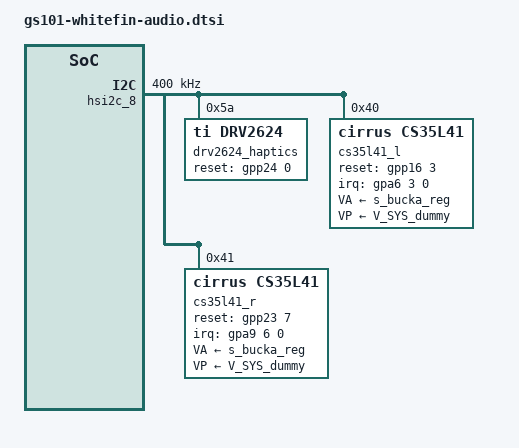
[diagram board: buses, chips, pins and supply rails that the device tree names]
// SPDX-License-Identifier: GPL-2.0-only
/*
 * Google GS101 Whitefin-specific audio device tree source
 *
 * Copyright (c) 2020 Google, LLC
 *		https://www.google.com
 *
*/

#include <dt-bindings/pinctrl/samsung.h>
#include <dt-bindings/gpio/gpio.h>
#include <dt-bindings/sound/google-aoc.h>
#include <dt-bindings/regulator/samsung,s2mpg-regulator.h>

&dai_be_tdm0_rx {
	codec {
		sound-dai = <&cs35l41_l 0>,
			<&cs35l41_r 0>;
	};
};

&dai_be_tdm0_tx {
	codec {
		sound-dai = <&cs35l41_l 0>,
			<&cs35l41_r 0>;
	};
};

&aoc_snd_card {
	clks {
		sys {
			sys@cs35l41_l {
				comp = <&cs35l41_l>;
				src = "BCLK";
				/* clk id */
				id = <0>;
				/* clk source */
				srcid = <0>;
				/* in clk multiple */
				in_mul = <1>;
				/* out clk multiple */
				out_mul = <1>;
			};

			sys@cs35l41_r {
				comp = <&cs35l41_r>;
				src = "BCLK";
				/* clk id */
				id = <0>;
				/* clk source */
				srcid = <0>;
				/* in clk multiple */
				in_mul = <1>;
				/* out clk multiple */
				out_mul = <1>;
			};
		};
	};
};

/* GPIO_ALIVE */
&pinctrl_0 {
	cs35l41_r_irq: cs35l41-r-irq {
		samsung,pins = "gpa9-6"; /* XEINT_26 */
		samsung,pin-function = <EXYNOS_PIN_FUNC_EINT>;
		samsung,pin-pud = <EXYNOS_PIN_PULL_NONE>;
	};
};

/* GPIO_FAR_ALIVE */
&pinctrl_1 {
	cs35l41_l_irq: cs35l41-l-irq {
		samsung,pins = "gpa6-3"; /* XEINT_3 */
		samsung,pin-function = <EXYNOS_PIN_FUNC_EINT>;
		samsung,pin-pud = <EXYNOS_PIN_PULL_NONE>;
	};
};

/* GPIO_PERIC0 */
&pinctrl_4 {
	cs35l41_l_rst: cs35l41-l-rst {
		samsung,pins = "gpp16-3"; /* XAPC_USI8_CTSN_CSN */
		samsung,pin-function = <EXYNOS_PIN_FUNC_OUTPUT>;
		samsung,pin-pud = <EXYNOS_PIN_PULL_NONE>;
		samsung,pin-con-pdn = <EXYNOS_PIN_PDN_PREV>;
		samsung,pin-pud-pdn = <EXYNOS_PIN_PULL_NONE>;
	};
};

/* GPIO_PERIC1 */
&pinctrl_5 {
	cs35l41_r_rst: cs35l41-r-rst {
		samsung,pins = "gpp23-7"; /* XAPC_USI12_CTSN_CSN */
		samsung,pin-function = <EXYNOS_PIN_FUNC_OUTPUT>;
		samsung,pin-pud = <EXYNOS_PIN_PULL_NONE>;
		samsung,pin-con-pdn = <EXYNOS_PIN_PDN_PREV>;
		samsung,pin-pud-pdn = <EXYNOS_PIN_PULL_NONE>;
	};

	hapt_amp_rst: hapt-amp-rst {
		samsung,pins = "gpp24-0"; /* XAPC_GPIO6 */
		samsung,pin-function = <EXYNOS_PIN_FUNC_OUTPUT>;
		samsung,pin-pud = <EXYNOS_PIN_PULL_NONE>;
		samsung,pin-con-pdn = <EXYNOS_PIN_PDN_PREV>;
		samsung,pin-pud-pdn = <EXYNOS_PIN_PULL_NONE>;
	};

	hapt_amp_trig: hapt-amp-trig {
		samsung,pins = "gpp24-3"; /* XAPC_GPIO9 */
		samsung,pin-function = <EXYNOS_PIN_FUNC_OUTPUT>;
		samsung,pin-pud = <EXYNOS_PIN_PULL_NONE>;
		samsung,pin-con-pdn = <EXYNOS_PIN_PDN_PREV>;
		samsung,pin-pud-pdn = <EXYNOS_PIN_PULL_NONE>;
	};
};

&hsi2c_8 {
	#address-cells = <1>;
	#size-cells = <0>;
	status = "okay";

	pinctrl-names = "default";
	pinctrl-0 = <&hsi2c8_bus>;

	clock-frequency = <400000>;

	drv2624_haptics@5a {
		compatible = "ti,drv2624";
		reg = <0x5a>;

		pinctrl-names = "default";
		pinctrl-0 = <&hapt_amp_rst>;

		ti,reset-gpio = <&gpp24 0 0>;

		ti,smart-loop = <0>; /* 0-closeloop, 1-openloop */
		ti,actuator = <1>; /* 0-ERM, 1-LRA */
		ti,rated-voltage = <77>; /* 1.8 Vrms */
		ti,odclamp-voltage = <165>; /* 3.5 Vpeak */
		ti,lra-frequency = <155>; /* f0 = 155Hz */
		ti,ol-lra-frequency = <155>; /* off-f0 in OL */
		ti,bemf-factor = <188>;
		ti,bemf-gain = <1>;
		ti,voltage-comp = <9>;
		ti,blanking-time = <2>; /* 50 us */
		ti,idiss-time = <2>; /* 50 us */
		ti,zc-det-time = <0>; /* 100 us*/
		ti,lra-wave-shape = <0>; /* Square wave */
		ti,waveform-interval = <1>; /* 1 ms */

		status = "okay";
	};

	cs35l41_l: cs35l41@40 {
		compatible = "cirrus,cs35l41";
		#sound-dai-cells = <1>;
		reg = <0x40>;

		pinctrl-names = "default";
		pinctrl-0 = <&cs35l41_l_rst &cs35l41_l_irq>;

		interrupt-parent = <&gpa6>;
		interrupts = <3 0 0>;

		reset-gpios = <&gpp16 3 0>;

		VA-supply = <&s_bucka_reg>;
		VP-supply = <&V_SYS_dummy>;

		cirrus,boost-peak-milliamp = <3500>;
		cirrus,boost-ind-nanohenry = <1000>;
		cirrus,boost-cap-microfarad = <30>;

		cirrus,asp-sdout-hiz = <3>;
		cirrus,tuning-has-prefix;
		cirrus,left-channel-amp;

		cirrus,gpio-config2 {
			cirrus,gpio-src-select = <0x5>;
			cirrus,gpio-output-enable;
		};
	};

	cs35l41_r: cs35l41@41 {
		compatible = "cirrus,cs35l41";
		#sound-dai-cells = <1>;
		sound-name-prefix = "R";
		reg = <0x41>;

		pinctrl-names = "default";
		pinctrl-0 = <&cs35l41_r_rst &cs35l41_r_irq>;

		interrupt-parent = <&gpa9>;
		interrupts = <6 0 0>;

		reset-gpios = <&gpp23 7 0>;

		VA-supply = <&s_bucka_reg>;
		VP-supply = <&V_SYS_dummy>;

		cirrus,boost-peak-milliamp = <3500>;
		cirrus,boost-ind-nanohenry = <1000>;
		cirrus,boost-cap-microfarad = <30>;

		cirrus,asp-sdout-hiz = <3>;
		cirrus,tuning-has-prefix;
		cirrus,left-channel-amp;

		cirrus,gpio-config2 {
			cirrus,gpio-src-select = <0x5>;
			cirrus,gpio-output-enable;
		};
	};
};

/* GSA controls MIC power on this platform */
&m_ldo20_reg {
	regulator-initial-mode = <SEC_OPMODE_SUSPEND>;  /* GPIO_CONTROL */
};
